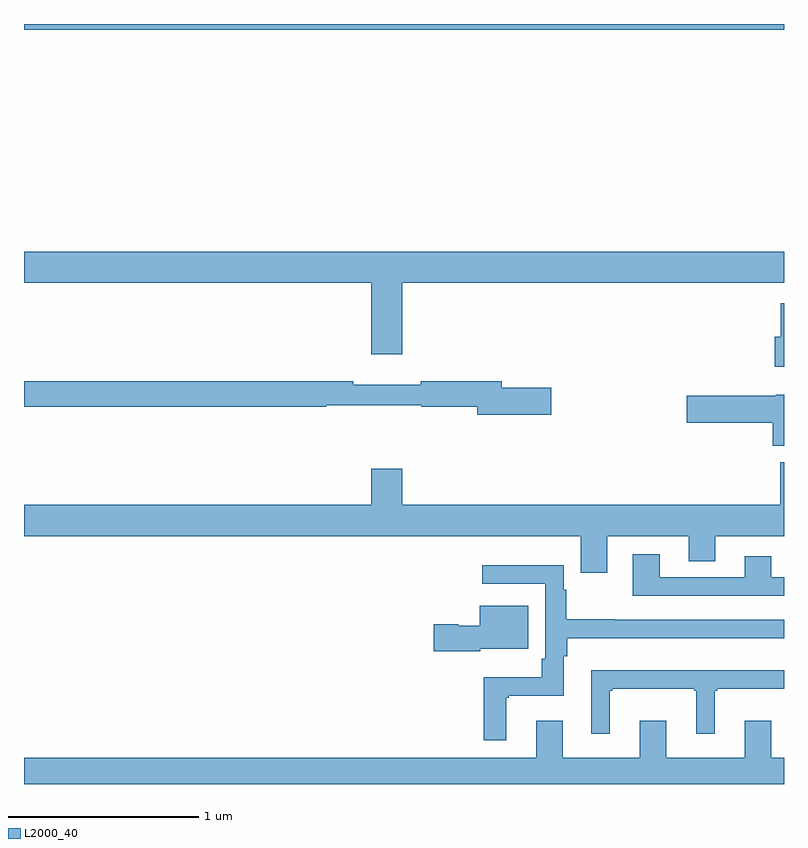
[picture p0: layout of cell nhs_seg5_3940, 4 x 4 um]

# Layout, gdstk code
import gdstk
lib = gdstk.Library(unit=1e-6, precision=1e-09)
def R(c, l, rs):  # rectangles x0, y0, x1, y1
    for r in rs: c.add(gdstk.rectangle(r[:2], r[2:], *l))
def P(c, l, *ps):  # polygons
    for p in ps: c.add(gdstk.Polygon(p, *l))
L2000_40 = (2000, 40)

nhs_seg5_3940 = lib.new_cell('nhs_seg5_3940')
R(nhs_seg5_3940, L2000_40, [(343,848.768,347,848.799)])
P(nhs_seg5_3940, L2000_40, [(344.992,847.436),(347,847.436),(347,847.6),(343,847.6),(343,847.436),(344.828,847.436),(344.828,847.062),(344.992,847.062)],
  [(347,847.33),(346.984,847.33),(346.984,847.153),(346.95,847.153),(346.95,846.995),(347,846.995)],
  [(345.775,846.884),(345.514,846.884),(345.514,846.92),(345.088,846.92),(345.088,846.901),(344.732,846.901),(344.732,846.92),(343,846.92),(343,846.784),(344.59,846.784),(344.59,846.792),(345.09,846.792),(345.09,846.784),(345.386,846.784),(345.386,846.742),(345.775,846.742)],
  [(347,846.847),(346.956,846.847),(346.956,846.842),(346.488,846.842),(346.488,846.7),(346.94,846.7),(346.94,846.578),(347,846.578)],
  [(346.069,846.104),(346.499,846.104),(346.499,845.971),(346.639,845.971),(346.639,846.104),(347,846.104),(347,846.493),(346.981,846.493),(346.981,846.268),(344.992,846.268),(344.992,846.457),(344.828,846.457),(344.828,846.268),(343,846.268),(343,846.104),(345.929,846.104),(345.929,845.91),(346.069,845.91)],
  [(347,845.886),(346.933,845.886),(346.933,845.998),(346.793,845.998),(346.793,845.886),(346.345,845.886),(346.345,846.007),(346.205,846.007),(346.205,845.79),(347,845.79)],
  [(345.538,845.253),(345.55,845.253),(345.55,845.264),(345.841,845.264),(345.841,845.471),(345.86,845.471),(345.86,845.567),(347,845.567),(347,845.664),(346.109,845.664),(346.109,845.667),(345.853,845.667),(345.853,845.822),(345.84,845.822),(345.84,845.95),(345.411,845.95),(345.411,845.853),(345.744,845.853),(345.744,845.458),(345.724,845.458),(345.724,845.362),(345.421,845.362),(345.421,845.028),(345.538,845.028)],
  [(345.402,845.51),(345.655,845.51),(345.655,845.737),(345.398,845.737),(345.398,845.632),(345.285,845.632),(345.285,845.64),(345.156,845.64),(345.156,845.498),(345.402,845.498)],
  [(346.084,845.289),(346.096,845.289),(346.096,845.3),(346.527,845.3),(346.527,845.289),(346.538,845.289),(346.538,845.064),(346.636,845.064),(346.636,845.289),(346.648,845.289),(346.648,845.3),(347,845.3),(347,845.398),(345.986,845.398),(345.986,845.064),(346.084,845.064)],
  [(347,844.936),(346.933,844.936),(346.933,845.131),(346.793,845.131),(346.793,844.936),(346.381,844.936),(346.381,845.131),(346.241,845.131),(346.241,844.936),(345.835,844.936),(345.835,845.131),(345.695,845.131),(345.695,844.936),(343,844.936),(343,844.799),(347,844.799)])

lib.write_gds('nhs_seg5_3940.gds')
